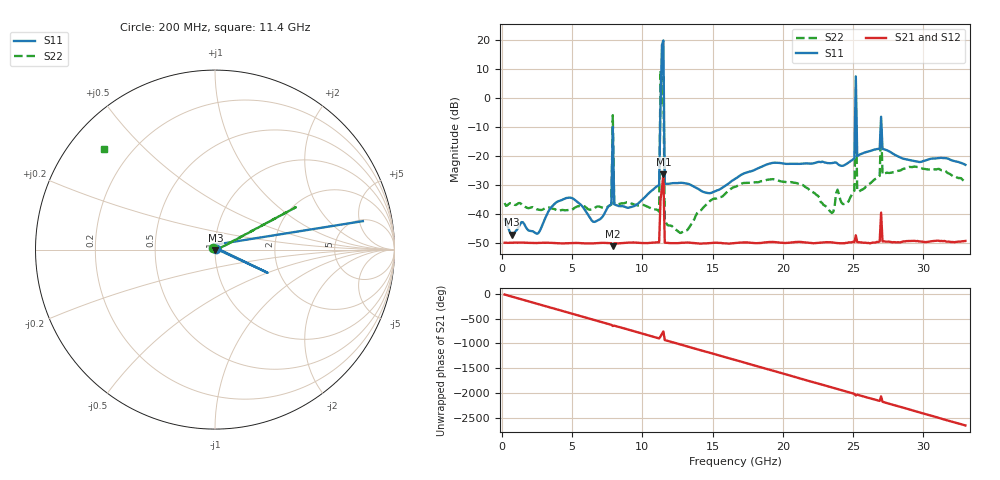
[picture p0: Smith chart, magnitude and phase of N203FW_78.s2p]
# GHZ S RI R 50
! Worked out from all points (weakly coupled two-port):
!   329 points, 200 MHz to 33 GHz, reference 50 ohm
!   highest |S21| = -26.31 dB at 11.5 GHz (marker M1); lowest = -51.1 dB at 7.9 GHz (marker M2)
!   lowest |S11| = -47.2 dB at 700 MHz (marker M3), VSWR 1.01, Z = 50.2 - j0.375 ohm
!   |S11| at or under -10 dB: start of sweep to 7.9 GHz; 11.56 GHz to 25.14 GHz (13.58 GHz wide, 74 % of centre); 27.03 GHz to end of sweep (the widest 3 of 5)
!   |S22| runs from -46.6 to 9.5 dB; largest |S21 - S12| = 0.01
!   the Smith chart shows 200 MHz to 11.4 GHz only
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0.2  0.00678 0.0044  0.00305 -0.000895  0.00306 -0.000888  -0.0132 0.00804
0.7  0.00227 -0.00373  0.00177 -0.00264  0.00177 -0.00264  -0.0122 0.00922
5.7  0.00757 0.0116  -0.000438 -0.00309  -0.000454 -0.00309  0.00789 -0.011
7.8  -0.00881 0.0116  -0.000206 0.00311  -0.000214 0.00312  -0.00811 -0.0121
7.9  0.2934 -0.1291  0.000881 0.00263  0.000873 0.00251  0.4505 0.236
8  -0.00396 0.0142  0.000655 0.00303  0.000655 0.00304  -0.01 -0.0114
11.2  0.0118 0.029  -0.00322 -5.43e-05  -0.00323 -5.93e-05  -0.00856 0.00678
11.3  0.8236 0.1586  -0.0133 -0.0119  -0.0133 -0.00832  0.3723 2.966
11.4  5.125 6.595  0.0017 -0.0272  0.000747 -0.0261  -0.6198 0.563
11.5  9.069 -4.155  0.0383 -0.0296  0.0376 -0.0302  -0.172 -2.315
11.6  0.0297 0.0144  -0.00271 0.0017  -0.00271 0.0017  -0.00583 0.00494
16.6  -0.0325 0.0236  -0.00105 0.00296  -0.00104 0.00295  -0.0288 0.00585
22.1  -0.0283 -0.0687  0.00282 0.00135  0.00283 0.00135  0.021 0.0116
23.5  0.00684 0.0754  0.000157 -0.00321  0.000145 -0.00323  0.00986 -0.0032
25.1  -0.0397 -0.0828  -0.00269 0.00182  -0.00272 0.00183  -0.024 -0.00802
25.2  2.294 0.6645  -0.00158 0.00397  -0.00138 0.004  0.2772 0.5351
25.3  -0.0751 -0.0662  -0.00209 0.00251  -0.00207 0.0025  -0.0259 -0.00246
26.9  0.0636 0.1177  0.00333 0.000191  0.00328 0.00016  -0.0403 0.0216
27  0.359 -0.3158  -0.0011 0.0105  -0.000489 8.75e-05  -0.1791 0.2644
27.1  0.1014 0.0861  0.00324 -0.000781  0.00323 -0.000802  -0.0395 0.0278
27.6  0.1166 -0.0276  0.00184 -0.00275  0.00189 -0.00271  -0.0342 0.038
33  0.0181 0.0682  -0.00219 -0.00261  -0.0022 -0.00259  0.0346 0.0115
